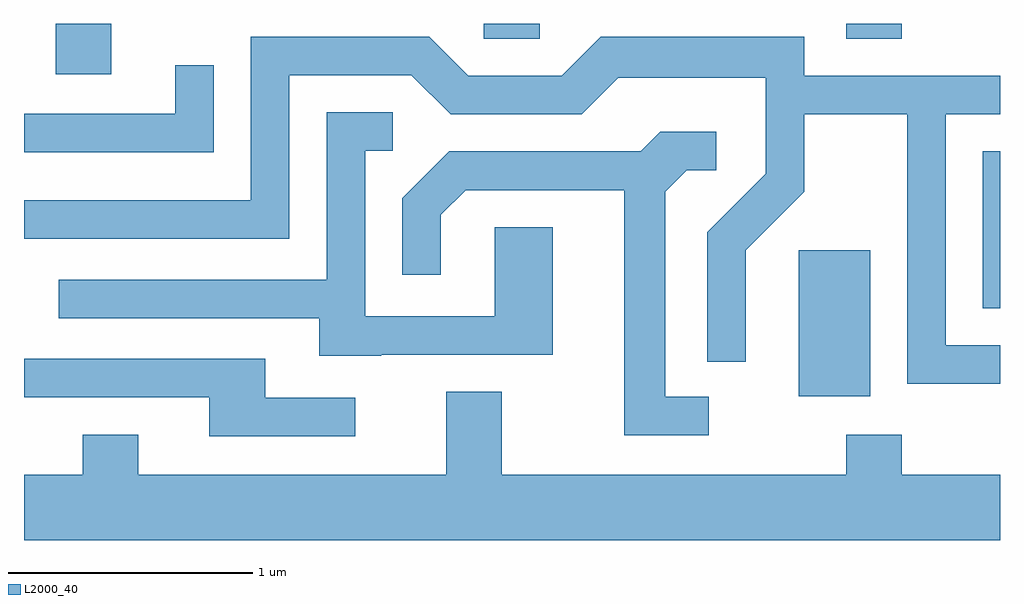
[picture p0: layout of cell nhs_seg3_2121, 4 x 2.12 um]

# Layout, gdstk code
import gdstk
lib = gdstk.Library(unit=1e-6, precision=1e-09)
def R(c, l, rs):  # rectangles x0, y0, x1, y1
    for r in rs: c.add(gdstk.rectangle(r[:2], r[2:], *l))
def P(c, l, *ps):  # polygons
    for p in ps: c.add(gdstk.Polygon(p, *l))
L2000_40 = (2000, 40)

nhs_seg3_2121 = lib.new_cell('nhs_seg3_2121')
R(nhs_seg3_2121, L2000_40, [(250.786,1144.366,251.079,1144.964), (251.541,1144.726,251.611,1145.369), (247.741,1145.686,247.969,1145.892), (249.496,1145.831,249.724,1145.892), (250.981,1145.831,251.209,1145.892)])
P(nhs_seg3_2121, L2000_40, [(251.611,1144.574),(251.389,1144.574),(251.389,1145.521),(251.611,1145.521),(251.611,1145.679),(250.809,1145.679),(250.809,1145.839),(249.974,1145.839),(249.814,1145.679),(249.432,1145.679),(249.272,1145.839),(248.541,1145.839),(248.541,1145.169),(247.611,1145.169),(247.611,1145.011),(248.699,1145.011),(248.699,1145.681),(249.199,1145.681),(249.359,1145.521),(249.897,1145.521),(250.047,1145.671),(250.651,1145.671),(250.651,1145.277),(250.411,1145.037),(250.411,1144.508),(250.569,1144.508),(250.569,1144.964),(250.809,1145.204),(250.809,1145.521),(251.231,1145.521),(251.231,1144.416),(251.611,1144.416)],
  [(248.389,1145.723),(248.231,1145.723),(248.231,1145.524),(247.611,1145.524),(247.611,1145.366),(248.389,1145.366)],
  [(249.075,1144.536),(249.779,1144.536),(249.779,1145.059),(249.541,1145.059),(249.541,1144.694),(249.009,1144.694),(249.009,1145.371),(249.123,1145.371),(249.123,1145.529),(248.851,1145.529),(248.851,1144.844),(247.753,1144.844),(247.753,1144.686),(248.821,1144.686),(248.821,1144.531),(249.075,1144.531)],
  [(250.418,1144.364),(250.239,1144.364),(250.239,1145.204),(250.327,1145.291),(250.448,1145.291),(250.448,1145.449),(250.219,1145.449),(250.139,1145.369),(249.354,1145.369),(249.161,1145.177),(249.161,1144.863),(249.319,1144.863),(249.319,1145.109),(249.422,1145.211),(250.071,1145.211),(250.071,1144.206),(250.418,1144.206)],
  [(248.968,1144.359),(248.599,1144.359),(248.599,1144.519),(247.611,1144.519),(247.611,1144.361),(248.371,1144.361),(248.371,1144.201),(248.968,1144.201)],
  [(251.611,1144.044),(251.209,1144.044),(251.209,1144.209),(250.981,1144.209),(250.981,1144.044),(249.569,1144.044),(249.569,1144.384),(249.341,1144.384),(249.341,1144.044),(248.079,1144.044),(248.079,1144.209),(247.851,1144.209),(247.851,1144.044),(247.611,1144.044),(247.611,1143.776),(251.611,1143.776)])

lib.write_gds('nhs_seg3_2121.gds')
